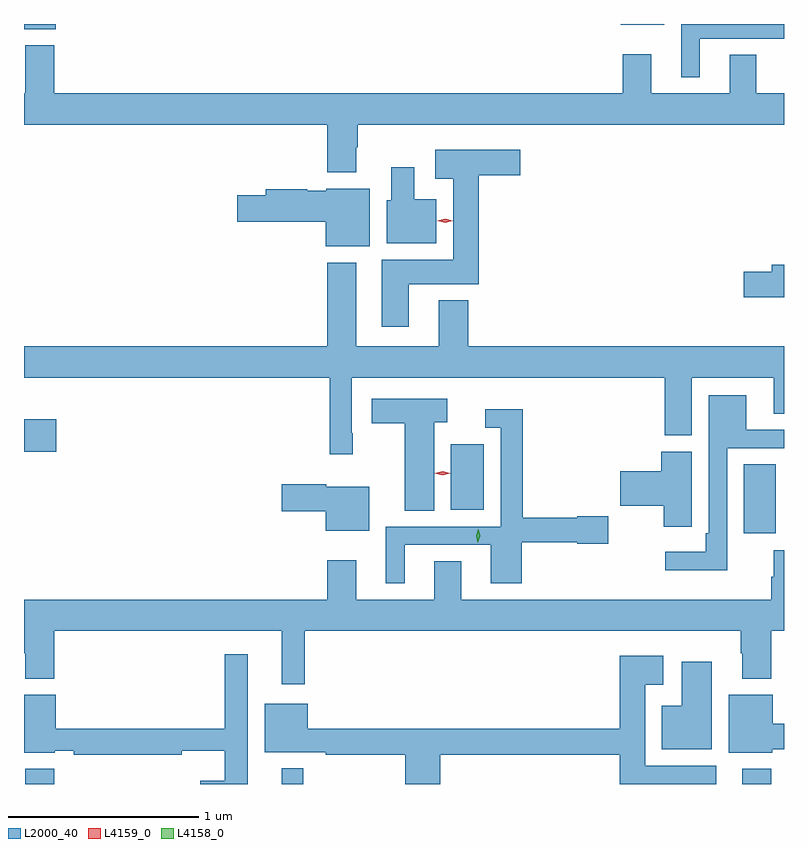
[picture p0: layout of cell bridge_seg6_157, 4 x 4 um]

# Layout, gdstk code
import gdstk
lib = gdstk.Library(unit=1e-6, precision=1e-09)
def R(c, l, rs):  # rectangles x0, y0, x1, y1
    for r in rs: c.add(gdstk.rectangle(r[:2], r[2:], *l))
def P(c, l, *ps):  # polygons
    for p in ps: c.add(gdstk.Polygon(p, *l))
L2000_40 = (2000, 40)
L4158_0 = (4158, 0)
L4159_0 = (4159, 0)

bridge_seg6_157 = lib.new_cell('bridge_seg6_157')
R(bridge_seg6_157, L2000_40, [(603.113,946.529,603.266,946.609), (604.463,946.529,604.578,946.612), (606.887,946.529,607.04,946.609), (606.896,947.85,607.063,948.212), (605.354,947.972,605.527,948.316), (603.107,948.278,603.277,948.448), (603.107,950.501,603.274,950.529), (606.248,950.525,606.478,950.529)])
P(bridge_seg6_157, L2000_40, [(606.664,950.451),(607.107,950.451),(607.107,950.529),(606.566,950.529),(606.566,950.25),(606.664,950.25)],
  [(603.266,950.416),(603.113,950.416),(603.113,950.164),(603.107,950.164),(603.107,950),(604.703,950),(604.703,949.748),(604.855,949.748),(604.855,949.88),(604.863,949.88),(604.863,950),(607.107,950),(607.107,950.164),(606.961,950.164),(606.961,950.366),(606.821,950.366),(606.821,950.164),(606.409,950.164),(606.409,950.371),(606.257,950.371),(606.257,950.164),(603.266,950.164)],
  [(605.131,949.16),(605.501,949.16),(605.501,949.733),(605.719,949.733),(605.719,949.867),(605.271,949.867),(605.271,949.715),(605.366,949.715),(605.366,949.288),(604.991,949.288),(604.991,948.936),(605.131,948.936)],
  [(605.278,949.606),(605.161,949.606),(605.161,949.774),(605.039,949.774),(605.039,949.602),(605.015,949.602),(605.015,949.376),(605.278,949.376)],
  [(604.927,949.663),(604.698,949.663),(604.698,949.651),(604.598,949.651),(604.598,949.659),(604.379,949.659),(604.379,949.629),(604.23,949.629),(604.23,949.487),(604.694,949.487),(604.694,949.358),(604.927,949.358)],
  [(604.838,948.376),(604.833,948.376),(604.833,948.668),(606.479,948.668),(606.479,948.364),(606.622,948.364),(606.622,948.668),(607.052,948.668),(607.052,948.478),(607.107,948.478),(607.107,948.832),(605.444,948.832),(605.444,949.075),(605.291,949.075),(605.291,948.832),(604.855,948.832),(604.855,949.273),(604.703,949.273),(604.703,948.832),(603.107,948.832),(603.107,948.668),(604.717,948.668),(604.717,948.264),(604.838,948.264)],
  [(607.107,949.262),(607.043,949.262),(607.043,949.226),(606.894,949.226),(606.894,949.091),(607.107,949.091)],
  [(606.807,948.297),(607.107,948.297),(607.107,948.393),(606.907,948.393),(606.907,948.574),(606.711,948.574),(606.711,947.848),(606.695,947.848),(606.695,947.752),(606.483,947.752),(606.483,947.654),(606.807,947.654)],
  [(605.266,948.434),(605.335,948.434),(605.335,948.556),(604.938,948.556),(604.938,948.427),(605.111,948.427),(605.111,947.968),(605.266,947.968)],
  [(605.11,947.787),(605.564,947.787),(605.564,947.586),(605.726,947.586),(605.726,947.802),(606.018,947.802),(606.018,947.794),(606.181,947.794),(606.181,947.938),(606.018,947.938),(606.018,947.93),(605.732,947.93),(605.732,948.502),(605.535,948.502),(605.535,948.405),(605.616,948.405),(605.616,947.883),(605.012,947.883),(605.012,947.586),(605.11,947.586)],
  [(606.621,947.995),(606.622,947.995),(606.622,948.279),(606.461,948.279),(606.461,948.176),(606.246,948.176),(606.246,947.993),(606.473,947.993),(606.473,947.883),(606.621,947.883)],
  [(604.924,948.094),(604.698,948.094),(604.698,948.107),(604.464,948.107),(604.464,947.965),(604.694,947.965),(604.694,947.861),(604.924,947.861)],
  [(604.585,947.336),(606.88,947.336),(606.88,947.216),(606.887,947.216),(606.887,947.084),(607.04,947.084),(607.04,947.336),(607.107,947.336),(607.107,947.758),(607.052,947.758),(607.052,947.621),(607.04,947.621),(607.04,947.5),(605.407,947.5),(605.407,947.702),(605.267,947.702),(605.267,947.5),(604.855,947.5),(604.855,947.707),(604.703,947.707),(604.703,947.5),(603.107,947.5),(603.107,947.216),(603.113,947.216),(603.113,947.084),(603.266,947.084),(603.266,947.336),(604.463,947.336),(604.463,947.055),(604.585,947.055)],
  [(604.285,947.212),(604.164,947.212),(604.164,946.82),(603.274,946.82),(603.274,946.999),(603.107,946.999),(603.107,946.694),(603.27,946.694),(603.27,946.704),(603.37,946.704),(603.37,946.684),(603.938,946.684),(603.938,946.703),(604.164,946.703),(604.164,946.546),(604.034,946.546),(604.034,946.529),(604.285,946.529)],
  [(605.297,946.684),(606.242,946.684),(606.242,946.529),(606.751,946.529),(606.751,946.624),(606.376,946.624),(606.376,947.051),(606.472,947.051),(606.472,947.203),(606.242,947.203),(606.242,946.82),(604.6,946.82),(604.6,946.951),(604.373,946.951),(604.373,946.697),(604.696,946.697),(604.696,946.684),(605.114,946.684),(605.114,946.529),(605.297,946.529)],
  [(606.727,947.173),(606.569,947.173),(606.569,946.942),(606.464,946.942),(606.464,946.712),(606.727,946.712)],
  [(607.044,946.712),(607.107,946.712),(607.107,946.847),(607.048,946.847),(607.048,946.999),(606.815,946.999),(606.815,946.694),(607.044,946.694)])
P(bridge_seg6_157, L4158_0, [(605.495,947.799),(605.495,947.799),(605.487,947.836),(605.498,947.871),(605.498,947.871),(605.499,947.871),(605.507,947.835),(605.496,947.799)])
P(bridge_seg6_157, L4159_0, [(605.323,949.484),(605.282,949.494),(605.282,949.494),(605.282,949.494),(605.323,949.504),(605.364,949.494),(605.364,949.494),(605.364,949.494)],
  [(605.31,948.155),(605.27,948.165),(605.27,948.165),(605.27,948.165),(605.31,948.175),(605.35,948.165),(605.351,948.165),(605.35,948.165)])

lib.write_gds('bridge_seg6_157.gds')
